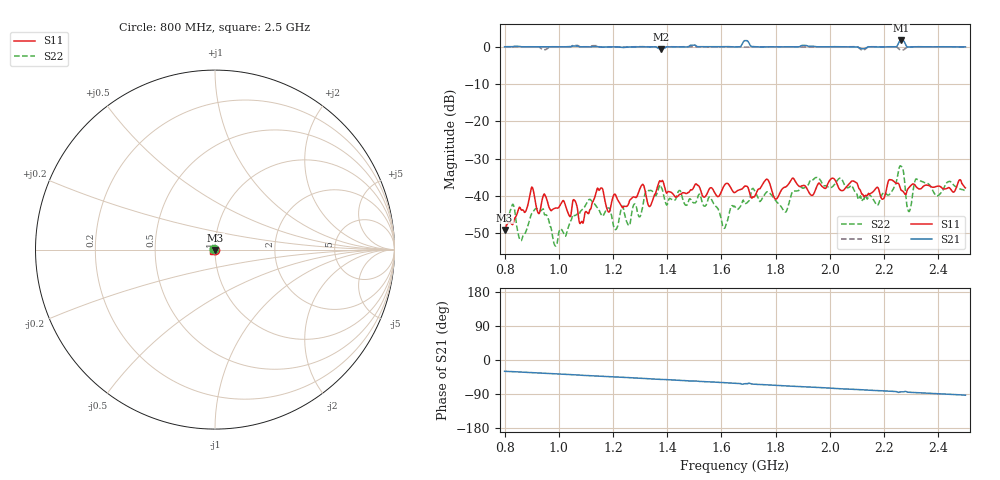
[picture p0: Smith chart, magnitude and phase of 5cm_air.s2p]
!Keysight Technologies N9950B: A.12.38
!Date: Monday, 27 February 2023 17:47:31
!Timezone: (UTC-06:00) Central Time (US & Canada)
!Model: N9950B
!Serial: MY61131330
!GPS Latitude:
!GPS Longitude:
!GPS TimeStamp: 0001-01-01 00:00:00Z
!GPS Seconds Since Last Read: 0
!CHECKSUM:0763983349
!Correction: S11(ON U*)S21(ON U*)S12(ON U*)S22(ON U*)
!S2P File: Measurements:S11,S21,S12,S22:
# Hz S DB R 50
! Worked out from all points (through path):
!   1001 points, 800 MHz to 2.5 GHz, reference 50 ohm
!   highest |S21| = 1.68 dB at 2.262 GHz (marker M1); lowest = -0.6 dB at 1.376 GHz (marker M2)
!   group delay of S21, straight-line fit = 103 ps
!   lowest |S11| = -49.1 dB at 800 MHz (marker M3), VSWR 1.01, Z = 50.3 - j0.217 ohm
!   |S11| at or under -10 dB: start of sweep to end of sweep
!   |S22| runs from -53.4 to -31.9 dB; largest |S21 - S12| = 0.31
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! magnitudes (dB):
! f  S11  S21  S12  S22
! 800 MHz  -49.1  0.0  0.0  -45.8
! 830.6 MHz  -47.5  0.0  0.0  -42.2
! 861.2 MHz  -43.7  0.0  0.0  -51.9
! 902 MHz  -37.6  0.0  0.0  -44.6
! 987 MHz  -43.2  0.0  0.0  -53.3
! 1.084 GHz  -46.8  0.0  0.0  -43.8
! 1.149 GHz  -38.5  -0.1  0.0  -43.8
! 1.21 GHz  -39.7  0.0  0.0  -49.0
! 1.335 GHz  -42.8  0.0  0.0  -38.5
! 1.368 GHz  -36.7  -0.4  -0.3  -38.0
! 1.376 GHz  -36.1  -0.6  -0.5  -37.3
! 1.56 GHz  -37.8  0.0  0.0  -40.5
! 1.609 GHz  -37.3  0.0  0.0  -48.6
! 1.65 GHz  -39.0  0.0  0.0  -42.8
! 1.718 GHz  -40.2  0.1  0.0  -38.1
! 1.835 GHz  -37.6  0.0  0.0  -44.3
! 1.934 GHz  -39.8  0.2  0.0  -35.8
! 2.218 GHz  -35.7  0.0  -0.1  -39.7
! 2.262 GHz  -38.3  1.7  -0.9  -32.0
! 2.291 GHz  -37.8  -0.1  -0.1  -44.1
! 2.321 GHz  -37.7  0.0  0.0  -35.5
! 2.5 GHz  -37.8  0.0  0.0  -38.6
